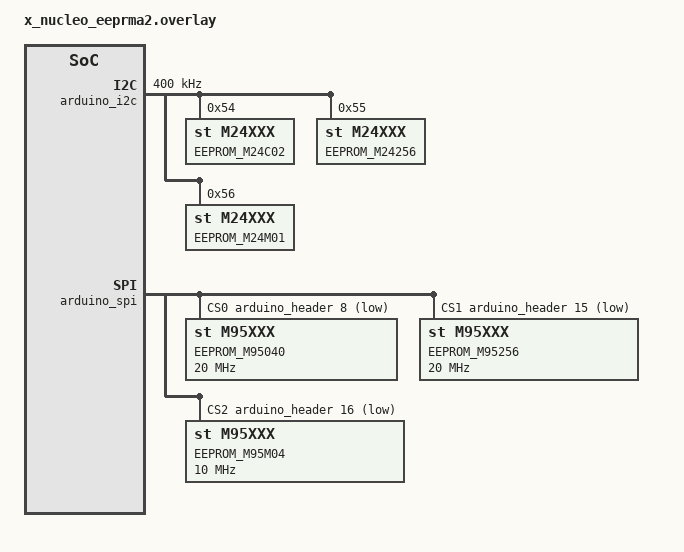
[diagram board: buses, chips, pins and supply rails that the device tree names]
/*
 * Copyright (c) 2021 Thomas Stranger
 *
 * SPDX-License-Identifier: Apache-2.0
 */

#include <freq.h>
#include <mem.h>

/ {
	aliases {
		eeprom-0 = &eeprom0;
		eeprom-1 = &eeprom4;
	};
};

&arduino_i2c {
	status = "okay";
	clock-frequency = <I2C_BITRATE_FAST>;

	eeprom0: eeprom@54 {
		/* M24C02-FMC6TG aka U1 (2 kbit eeprom in DFN8 package) */
		compatible = "st,m24xxx", "atmel,at24";
		reg = <0x54>;
		label = "EEPROM_M24C02";
		size = <256>;
		pagesize = <16>;
		address-width = <8>;
		timeout = <5>;

		/* if solder-bridge closed: arduino A1 pin on CN8 can wp */
		/* wp-gpios = <&arduino_header 1 GPIO_ACTIVE_LOW>; */
	};

	eeprom1: eeprom@55 {
		/* M24256-DFDW6TP aka U2 (256 kbit eeprom in TSSOP package) */
		compatible = "st,m24xxx", "atmel,at24";
		reg = <0x55>;
		label = "EEPROM_M24256";
		size = <DT_SIZE_K(32)>;
		pagesize = <64>;
		address-width = <16>;
		timeout = <5>;

		/* if solder-bridge closed: arduino A1 pin on CN8 can wp */
		/* wp-gpios = <&arduino_header 1 GPIO_ACTIVE_LOW>; */
	};

	eeprom2: eeprom@56 {
		/* M24M01-DFMN6TP aka U3 (1 Mbit eeprom in SO8N package) */
		compatible = "st,m24xxx", "atmel,at24";
		reg = <0x56>;
		label = "EEPROM_M24M01";
		size = <DT_SIZE_K(128)>;
		pagesize = <256>;
		address-width = <16>;
		timeout = <5>;

		/* if solder-bridge closed: arduino A1 pin on CN8 can wp */
		/* wp-gpios = <&arduino_header 1 GPIO_ACTIVE_LOW>; */
	};

	/* U4: unpopulated SO8N footprint for any I2C M24 EEPROM */
};

&arduino_spi {
	status = "okay";
	cs-gpios = <&arduino_header  8 GPIO_ACTIVE_LOW>, /* U5: eeprom4 */
		   <&arduino_header 15 GPIO_ACTIVE_LOW>, /* U6: eeprom5 */
		   <&arduino_header 16 GPIO_ACTIVE_LOW>; /* U7: eeprom6 */

	/*
	 * All chip select pins have an on board 10k pull-up resistor to VCC,
	 * and are connected to their respective arduino pins via a normally
	 * closed solder bridge.
	 *
	 * All hold pins are connected to VCC with a 10k pull-up, and
	 * have a connection to arduino pin A3 on CN8 via an open solder bridge.
	 *
	 * All write-protect pins are connected to J11 with a 10k pull-up
	 * resistor. Where they can either be torn to VCC or GND.
	 * Additionally they are connected to arduino pin A0 on CN8
	 * via an open solder bridge.
	 */

	eeprom4: eeprom_m95040@0 {
		/* M95040-RMC6TG aka U5 (4 kbit eeprom in DFN8 package) */
		compatible = "st,m95xxx", "atmel,at25";
		reg = <0x00>;
		label = "EEPROM_M95040";
		size = <512>;
		pagesize = <16>;
		address-width = <8>;
		spi-max-frequency = <DT_FREQ_M(20)>;
		timeout = <5>;

		/* if solder-bridge closed: arduino A0 pin on CN8 can wp */
		/* wp-gpios = <&arduino_header 0 GPIO_ACTIVE_LOW>; */
	};

	eeprom5: eeprom_m95256@1 {
		/* M95256-DFDW6TP aka U6 (256 kbit eeprom in TSSOP package) */
		compatible = "st,m95xxx", "atmel,at25";
		reg = <0x01>;
		label = "EEPROM_M95256";
		size = <DT_SIZE_K(32)>;
		pagesize = <64>;
		address-width = <16>;
		spi-max-frequency = <DT_FREQ_M(20)>;
		timeout = <5>;

		/* if solder-bridge closed: arduino A0 pin on CN8 can wp */
		/* wp-gpios = <&arduino_header 0 GPIO_ACTIVE_LOW>; */
	};

	eeprom6: eeprom_m95m04@2 {
		/* M95M04-DRMN6TP aka U7 (4 Mbit eeprom in SON8 package) */
		compatible = "st,m95xxx", "atmel,at25";
		reg = <0x02>;
		label = "EEPROM_M95M04";
		size = <DT_SIZE_K(512)>;
		pagesize = <512>;
		address-width = <24>;
		/* max-frequency 10MHz for vcc>=2.5V and 5MHz for vcc>=1.8V */
		spi-max-frequency = <DT_FREQ_M(10)>;
		timeout = <5>;

		/* if solder-bridge closed: arduino A0 pin on CN8 can wp */
		/* wp-gpios = <&arduino_header 0 GPIO_ACTIVE_LOW>; */
	};

	/* U8: unpopulated SO8N footprint for any M95 SPI EEPROM */
};
